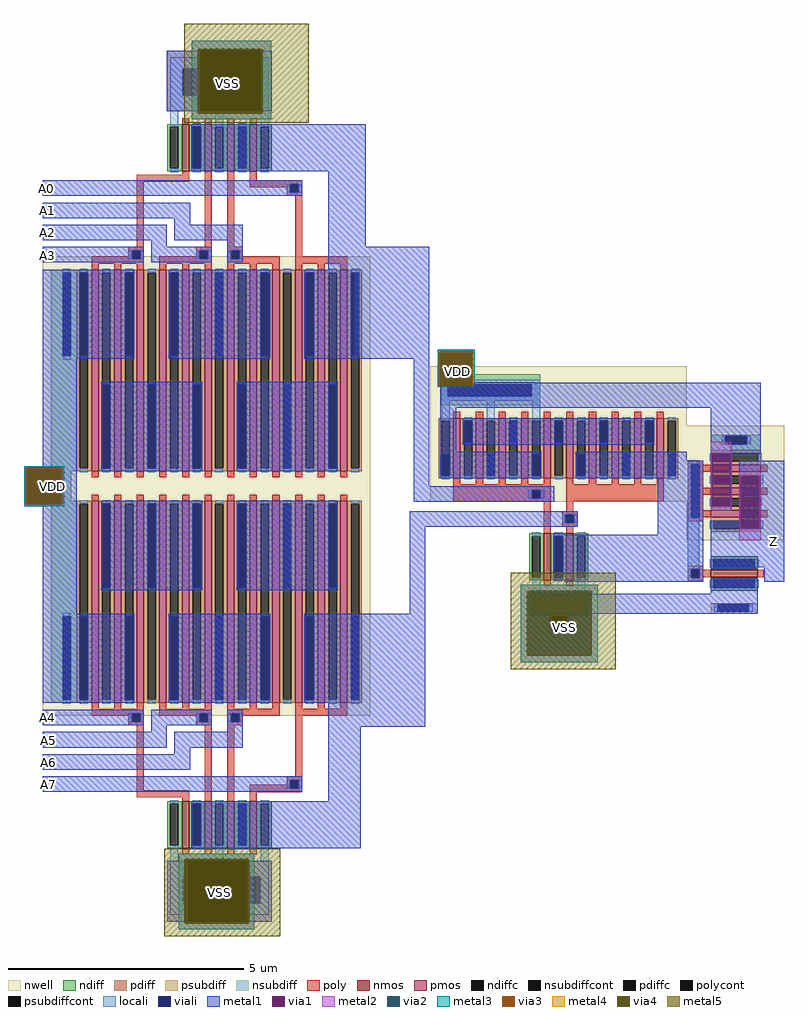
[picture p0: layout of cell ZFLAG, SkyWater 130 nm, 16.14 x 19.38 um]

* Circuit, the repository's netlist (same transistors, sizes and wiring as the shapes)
* NGSPICE file created from ZFLAG.ext - technology: sky130B

.subckt sky130_fd_pr__pfet_01v8_64A2S3 a_n33_n428# a_447_n428# a_n605_n428# a_321_n484#
+ a_n543_n484# a_543_n428# a_159_n428# a_33_n484# a_n255_n484# a_255_n428# w_n641_n484#
+ a_351_n428# a_n417_n428# a_n513_n428# a_n129_n428# a_63_n428# a_n225_n428# a_n321_n428#
X0 a_447_n428# a_321_n484# a_351_n428# w_n641_n484# sky130_fd_pr__pfet_01v8 ad=0.7062 pd=4.61 as=0.7062 ps=4.61 w=4.28 l=0.15
X1 a_n513_n428# a_n543_n484# a_n605_n428# w_n641_n484# sky130_fd_pr__pfet_01v8 ad=0.7062 pd=4.61 as=1.3268 ps=9.18 w=4.28 l=0.15
X2 a_63_n428# a_33_n484# a_n33_n428# w_n641_n484# sky130_fd_pr__pfet_01v8 ad=0.7062 pd=4.61 as=0.7062 ps=4.61 w=4.28 l=0.15
X3 a_n129_n428# a_n255_n484# a_n225_n428# w_n641_n484# sky130_fd_pr__pfet_01v8 ad=0.7062 pd=4.61 as=0.7062 ps=4.61 w=4.28 l=0.15
X4 a_n417_n428# a_n543_n484# a_n513_n428# w_n641_n484# sky130_fd_pr__pfet_01v8 ad=0.7062 pd=4.61 as=0.7062 ps=4.61 w=4.28 l=0.15
X5 a_n33_n428# a_n255_n484# a_n129_n428# w_n641_n484# sky130_fd_pr__pfet_01v8 ad=0.7062 pd=4.61 as=0.7062 ps=4.61 w=4.28 l=0.15
X6 a_351_n428# a_321_n484# a_255_n428# w_n641_n484# sky130_fd_pr__pfet_01v8 ad=0.7062 pd=4.61 as=0.7062 ps=4.61 w=4.28 l=0.15
X7 a_255_n428# a_33_n484# a_159_n428# w_n641_n484# sky130_fd_pr__pfet_01v8 ad=0.7062 pd=4.61 as=0.7062 ps=4.61 w=4.28 l=0.15
X8 a_n321_n428# a_n543_n484# a_n417_n428# w_n641_n484# sky130_fd_pr__pfet_01v8 ad=0.7062 pd=4.61 as=0.7062 ps=4.61 w=4.28 l=0.15
X9 a_543_n428# a_321_n484# a_447_n428# w_n641_n484# sky130_fd_pr__pfet_01v8 ad=1.3268 pd=9.18 as=0.7062 ps=4.61 w=4.28 l=0.15
X10 a_159_n428# a_33_n484# a_63_n428# w_n641_n484# sky130_fd_pr__pfet_01v8 ad=0.7062 pd=4.61 as=0.7062 ps=4.61 w=4.28 l=0.15
X11 a_n225_n428# a_n255_n484# a_n321_n428# w_n641_n484# sky130_fd_pr__pfet_01v8 ad=0.7062 pd=4.61 as=0.7062 ps=4.61 w=4.28 l=0.15
.ends

.subckt sky130_fd_pr__nfet_01v8_S9NJ5Q a_159_n100# a_n159_n126# a_33_n126# a_n129_n100#
+ a_n221_n100# a_63_n100# a_n63_n126# a_n33_n100# a_129_n126# VSUBS
X0 a_n129_n100# a_n159_n126# a_n221_n100# VSUBS sky130_fd_pr__nfet_01v8 ad=0.165 pd=1.33 as=0.31 ps=2.62 w=1 l=0.15
X1 a_63_n100# a_33_n126# a_n33_n100# VSUBS sky130_fd_pr__nfet_01v8 ad=0.165 pd=1.33 as=0.165 ps=1.33 w=1 l=0.15
X2 a_n33_n100# a_n63_n126# a_n129_n100# VSUBS sky130_fd_pr__nfet_01v8 ad=0.165 pd=1.33 as=0.165 ps=1.33 w=1 l=0.15
X3 a_159_n100# a_129_n126# a_63_n100# VSUBS sky130_fd_pr__nfet_01v8 ad=0.31 pd=2.62 as=0.165 ps=1.33 w=1 l=0.15
.ends

.subckt nor4 A B C D VSS Y VDD
Xsky130_fd_pr__pfet_01v8_64A2S3_0 m1_n20_1047# m1_268_1523# VDD D A Y m1_n20_1047#
+ C B m1_268_1523# VDD Y VDD m1_n308_1523# m1_n308_1523# m1_268_1523# m1_n20_1047#
+ m1_n308_1523# sky130_fd_pr__pfet_01v8_64A2S3
Xsky130_fd_pr__nfet_01v8_S9NJ5Q_0 VSS A C Y VSS Y B VSS D VSS sky130_fd_pr__nfet_01v8_S9NJ5Q
.ends

.subckt sky130_fd_pr__pfet_01v8_UFBY79 a_n33_n128# a_n509_n128# a_447_n128# a_159_n128#
+ a_255_n128# a_351_n128# a_n417_n128# a_n447_n225# a_n129_n128# a_63_n128# a_n225_n128#
+ a_33_n225# w_n545_n228# a_n321_n128#
X0 a_63_n128# a_33_n225# a_n33_n128# w_n545_n228# sky130_fd_pr__pfet_01v8 ad=0.2112 pd=1.61 as=0.2112 ps=1.61 w=1.28 l=0.15
X1 a_n129_n128# a_n447_n225# a_n225_n128# w_n545_n228# sky130_fd_pr__pfet_01v8 ad=0.2112 pd=1.61 as=0.2112 ps=1.61 w=1.28 l=0.15
X2 a_n417_n128# a_n447_n225# a_n509_n128# w_n545_n228# sky130_fd_pr__pfet_01v8 ad=0.2112 pd=1.61 as=0.3968 ps=3.18 w=1.28 l=0.15
X3 a_351_n128# a_33_n225# a_255_n128# w_n545_n228# sky130_fd_pr__pfet_01v8 ad=0.2112 pd=1.61 as=0.2112 ps=1.61 w=1.28 l=0.15
X4 a_n33_n128# a_n447_n225# a_n129_n128# w_n545_n228# sky130_fd_pr__pfet_01v8 ad=0.2112 pd=1.61 as=0.2112 ps=1.61 w=1.28 l=0.15
X5 a_255_n128# a_33_n225# a_159_n128# w_n545_n228# sky130_fd_pr__pfet_01v8 ad=0.2112 pd=1.61 as=0.2112 ps=1.61 w=1.28 l=0.15
X6 a_n321_n128# a_n447_n225# a_n417_n128# w_n545_n228# sky130_fd_pr__pfet_01v8 ad=0.2112 pd=1.61 as=0.2112 ps=1.61 w=1.28 l=0.15
X7 a_159_n128# a_33_n225# a_63_n128# w_n545_n228# sky130_fd_pr__pfet_01v8 ad=0.2112 pd=1.61 as=0.2112 ps=1.61 w=1.28 l=0.15
X8 a_n225_n128# a_n447_n225# a_n321_n128# w_n545_n228# sky130_fd_pr__pfet_01v8 ad=0.2112 pd=1.61 as=0.2112 ps=1.61 w=1.28 l=0.15
X9 a_447_n128# a_33_n225# a_351_n128# w_n545_n228# sky130_fd_pr__pfet_01v8 ad=0.3968 pd=3.18 as=0.2112 ps=1.61 w=1.28 l=0.15
.ends

.subckt sky130_fd_pr__nfet_01v8_LZEQWH a_33_n126# a_n125_n100# a_63_n100# a_n63_n126#
+ a_n33_n100# VSUBS
X0 a_63_n100# a_33_n126# a_n33_n100# VSUBS sky130_fd_pr__nfet_01v8 ad=0.31 pd=2.62 as=0.165 ps=1.33 w=1 l=0.15
X1 a_n33_n100# a_n63_n126# a_n125_n100# VSUBS sky130_fd_pr__nfet_01v8 ad=0.165 pd=1.33 as=0.31 ps=2.62 w=1 l=0.15
.ends

.subckt nor2 A B VSS VDD Y
Xsky130_fd_pr__pfet_01v8_UFBY79_0 m1_760_245# VDD Y m1_760_245# Y m1_760_245# m1_760_245#
+ A VDD Y m1_760_245# B VDD VDD sky130_fd_pr__pfet_01v8_UFBY79
Xsky130_fd_pr__nfet_01v8_LZEQWH_0 A VSS VSS B Y VSS sky130_fd_pr__nfet_01v8_LZEQWH
.ends

.subckt sky130_fd_pr__nfet_01v8_6H9P4D a_n73_n100# a_15_n100# a_n15_n126# VSUBS
X0 a_15_n100# a_n15_n126# a_n73_n100# VSUBS sky130_fd_pr__nfet_01v8 ad=0.29 pd=2.58 as=0.29 ps=2.58 w=1 l=0.15
.ends

.subckt efepmos_W107-L15-F3 a_n129_n204# a_n173_n107# w_n209_n207# a_n81_n107#
X0 a_n81_n107# a_n129_n204# a_n173_n107# w_n209_n207# sky130_fd_pr__pfet_01v8 ad=0.3317 pd=2.76 as=0.17655 ps=1.4 w=1.07 l=0.15
X1 a_n81_n107# a_n129_n204# a_n173_n107# w_n209_n207# sky130_fd_pr__pfet_01v8 ad=0.17655 pd=1.4 as=0.3317 ps=2.76 w=1.07 l=0.15
X2 a_n173_n107# a_n129_n204# a_n81_n107# w_n209_n207# sky130_fd_pr__pfet_01v8 ad=0.17655 pd=1.4 as=0.17655 ps=1.4 w=1.07 l=0.15
.ends

.subckt inv A VSS VDD Y
Xsky130_fd_pr__nfet_01v8_6H9P4D_0 Y VSS A VSS sky130_fd_pr__nfet_01v8_6H9P4D
Xefepmos_W107-L15-F3_0 A VDD VDD Y efepmos_W107-L15-F3
.ends

.subckt ZFLAG A0 A1 A2 A3 A4 A5 A6 A7 Z
Xnor4_0 A3 A2 A1 A0 VSS nor4_0/Y VDD nor4
Xnor4_1 A4 A5 A6 A7 VSS nor4_1/Y VDD nor4
Xnor2_1 nor4_0/Y nor4_1/Y VSS VDD inv_0/A nor2
Xinv_0 inv_0/A VSS VDD Z inv
.ends

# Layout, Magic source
magic
tech sky130B
magscale 1 2
<< nwell >>
rect 108 1772 218 2024
<< nsubdiff >>
rect 108 1901 218 2024
rect 108 1775 193 1901
rect 108 1772 218 1775
<< viali >>
rect 2164 1306 2364 1368
<< metal1 >>
rect 600 3429 740 3687
rect 998 3429 1045 3687
rect 72 3072 110 3130
rect 74 2978 112 3036
rect 72 2884 110 2946
rect 1379 2855 1445 3375
rect 74 2790 112 2852
rect 1379 2789 1713 2855
rect 72 1923 218 2757
rect 1396 2378 1713 2789
rect -7 1910 218 1923
rect -7 1766 6 1910
rect 150 1766 218 1910
rect 1647 1837 1713 2378
rect 1750 2403 1907 2416
rect 1750 2270 1761 2403
rect 1894 2276 1907 2403
rect 1894 2270 3122 2276
rect 1750 2259 3122 2270
rect 1760 2171 3122 2259
rect 1760 1985 1828 2171
rect 2908 2088 3122 2171
rect 1760 1980 1834 1985
rect 1647 1771 1983 1837
rect -7 1753 218 1766
rect 72 918 218 1753
rect 1631 1666 1960 1732
rect 1631 1296 1697 1666
rect 3146 1530 3206 1680
rect 2804 1433 2830 1434
rect 74 824 112 886
rect 1332 844 1697 1296
rect 2138 1382 2388 1384
rect 2138 1368 3108 1382
rect 2138 1306 2164 1368
rect 2364 1306 3108 1368
rect 2138 1297 3108 1306
rect 2138 1288 2388 1297
rect 2227 1224 2233 1288
rect 2297 1224 2303 1288
rect 1391 817 1697 844
rect 76 730 114 792
rect 76 636 114 698
rect 78 542 116 604
rect 602 -12 676 247
rect 935 -12 1045 247
<< via1 >>
rect 740 3429 998 3687
rect 6 1766 150 1910
rect 1761 2270 1894 2403
rect 2233 1224 2297 1288
rect 676 -12 935 247
<< metal2 >>
rect 705 3687 1043 3730
rect 705 3429 740 3687
rect 998 3429 1043 3687
rect 705 3396 1043 3429
rect 1750 2403 1907 2416
rect 1750 2270 1761 2403
rect 1894 2270 1907 2403
rect 1750 2259 1907 2270
rect -7 1910 163 1923
rect -7 1766 6 1910
rect 150 1766 163 1910
rect -7 1753 163 1766
rect 2102 1288 2429 1419
rect 2102 1224 2233 1288
rect 2297 1224 2429 1288
rect 2102 1091 2429 1224
rect 651 247 971 277
rect 651 -12 676 247
rect 935 -12 971 247
rect 651 -43 971 -12
<< via2 >>
rect 740 3429 998 3687
rect 1761 2270 1894 2403
rect 6 1766 150 1910
rect 2233 1224 2297 1288
rect 686 -12 935 247
<< metal3 >>
rect 705 3692 1043 3730
rect 705 3424 735 3692
rect 1003 3424 1043 3692
rect 705 3396 1043 3424
rect 1750 2408 1907 2416
rect 1750 2265 1756 2408
rect 1899 2265 1907 2408
rect 1750 2259 1907 2265
rect -7 1915 163 1923
rect -7 1761 1 1915
rect 155 1761 163 1915
rect -7 1753 163 1761
rect 2102 1293 2429 1419
rect 2102 1219 2228 1293
rect 2302 1219 2429 1293
rect 2102 1091 2429 1219
rect 651 252 971 277
rect 651 -17 681 252
rect 940 -17 971 252
rect 651 -43 971 -17
<< via3 >>
rect 735 3687 1003 3692
rect 735 3429 740 3687
rect 740 3429 998 3687
rect 998 3429 1003 3687
rect 735 3424 1003 3429
rect 1756 2403 1899 2408
rect 1756 2270 1761 2403
rect 1761 2270 1894 2403
rect 1894 2270 1899 2403
rect 1756 2265 1899 2270
rect 1 1910 155 1915
rect 1 1766 6 1910
rect 6 1766 150 1910
rect 150 1766 155 1910
rect 1 1761 155 1766
rect 2228 1288 2302 1293
rect 2228 1224 2233 1288
rect 2233 1224 2297 1288
rect 2297 1224 2302 1288
rect 2228 1219 2302 1224
rect 681 247 940 252
rect 681 -12 686 247
rect 686 -12 935 247
rect 935 -12 940 247
rect 681 -17 940 -12
<< metal4 >>
rect 1755 2408 1900 2409
rect 1755 2265 1756 2408
rect 1899 2265 1900 2408
rect 1755 2264 1900 2265
rect 0 1915 156 1916
rect 0 1761 1 1915
rect 155 1761 156 1915
rect 0 1760 156 1761
<< via4 >>
rect 733 3692 1005 3694
rect 733 3424 735 3692
rect 735 3424 1003 3692
rect 1003 3424 1005 3692
rect 733 3422 1005 3424
rect 2129 1293 2401 1392
rect 2129 1219 2228 1293
rect 2228 1219 2302 1293
rect 2302 1219 2401 1293
rect 2129 1120 2401 1219
rect 675 252 947 254
rect 675 -17 681 252
rect 681 -17 940 252
rect 940 -17 947 252
rect 675 -18 947 -17
<< metal5 >>
rect 674 3694 1202 3802
rect 674 3422 733 3694
rect 1005 3422 1202 3694
rect 674 3380 1202 3422
rect 2059 1392 2506 1471
rect 2059 1120 2129 1392
rect 2401 1120 2506 1392
rect 2059 1061 2506 1120
rect 589 254 1081 299
rect 589 -18 675 254
rect 947 -18 1081 254
rect 589 -74 1081 -18
use inv  inv_0 ~/Documents/vlsi/vlsi_sky130b/design/mag/inv
transform 1 0 2808 0 1 1608
box 0 -311 412 486
use nor2  nor2_1 ~/Documents/vlsi/vlsi_sky130b/design/mag/NOR/NOR2
transform 1 0 1718 0 1 1768
box 0 -480 1090 580
use nor4  nor4_0 ~/Documents/vlsi/vlsi_sky130b/design/mag/NOR/NOR4
transform 1 0 674 0 -1 3804
box -602 118 790 1966
use nor4  nor4_1
transform 1 0 674 0 1 -128
box -602 118 790 1966
<< labels >>
flabel metal1 84 3082 96 3118 0 FreeSans 160 0 0 0 A0
port 0 nsew
flabel metal1 86 2990 98 3026 0 FreeSans 160 0 0 0 A1
port 1 nsew
flabel metal1 86 2896 98 2932 0 FreeSans 160 0 0 0 A2
port 2 nsew
flabel metal1 86 2800 98 2836 0 FreeSans 160 0 0 0 A3
port 3 nsew
flabel metal1 80 836 104 876 0 FreeSans 160 0 0 0 A4
port 4 nsew
flabel metal1 86 740 110 780 0 FreeSans 160 0 0 0 A5
port 5 nsew
flabel metal1 84 644 108 684 0 FreeSans 160 0 0 0 A6
port 6 nsew
flabel metal1 84 552 108 592 0 FreeSans 160 0 0 0 A7
port 8 nsew
flabel metal1 3156 1542 3196 1664 0 FreeSans 160 0 0 0 Z
port 10 nsew
flabel metal5 718 3426 996 3670 0 FreeSans 160 0 0 0 VSS
flabel metal5 682 -10 960 234 0 FreeSans 160 0 0 0 VSS
flabel metal5 2150 1116 2428 1360 0 FreeSans 160 0 0 0 VSS
flabel metal4 1810 2268 1854 2378 0 FreeSans 160 0 0 0 VDD
flabel metal4 94 1782 138 1892 0 FreeSans 160 0 0 0 VDD
<< end >>

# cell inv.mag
magic
tech sky130B
magscale 1 2
<< nwell >>
rect 0 366 412 486
rect 101 347 104 366
rect 223 290 343 338
rect 326 288 343 290
rect 376 0 412 366
<< psubdiff >>
rect 100 -270 300 -268
rect 100 -304 131 -270
rect 263 -304 300 -270
rect 100 -311 300 -304
<< nsubdiff >>
rect 100 442 314 448
rect 100 408 163 442
rect 254 408 314 442
rect 100 382 314 408
<< psubdiffcont >>
rect 131 -304 263 -270
<< nsubdiffcont >>
rect 163 408 254 442
<< poly >>
rect 3 -124 70 -108
rect 3 -158 19 -124
rect 53 -126 70 -124
rect 53 -156 75 -126
rect 53 -158 70 -156
rect 3 -174 70 -158
<< polycont >>
rect 19 -158 53 -124
<< locali >>
rect 147 408 163 442
rect 254 408 270 442
rect 3 -124 53 339
rect 3 -158 19 -124
rect 3 -174 53 -158
rect 115 -304 131 -270
rect 263 -304 279 -270
<< viali >>
rect 163 408 254 442
rect 19 -158 53 -124
rect 131 -304 263 -270
<< metal1 >>
rect 100 442 314 486
rect 100 408 163 442
rect 254 408 314 442
rect 100 366 314 408
rect 101 347 104 366
rect 0 80 53 338
rect 223 82 412 338
rect 0 -124 69 80
rect 100 -114 412 82
rect 0 -158 19 -124
rect 53 -158 69 -124
rect 0 -175 69 -158
rect 100 -270 300 -161
rect 328 -175 412 -114
rect 100 -304 131 -270
rect 263 -304 300 -270
rect 100 -311 300 -304
use efepmos_W107-L15-F3  efepmos_W107-L15-F3_0
transform 0 1 207 -1 0 209
box -209 -207 209 169
use sky130_fd_pr__nfet_01v8_6H9P4D  sky130_fd_pr__nfet_01v8_6H9P4D_0
transform 0 1 200 -1 0 -141
box -73 -126 73 126
<< labels >>
rlabel metal1 0 78 0 78 3 A
port 1 e
rlabel metal1 198 -311 198 -311 5 VSS
port 2 s
rlabel metal1 210 486 210 486 5 VDD
port 3 s
rlabel metal1 412 78 412 78 3 Y
port 4 e
<< end >>

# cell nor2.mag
magic
tech sky130B
magscale 1 2
<< nwell >>
rect 0 459 1090 580
rect 1 396 1090 459
rect 42 350 486 396
<< psubdiff >>
rect 420 -401 670 -384
rect 420 -462 446 -401
rect 645 -462 670 -401
rect 420 -480 670 -462
<< nsubdiff >>
rect 46 502 466 544
rect 46 451 74 502
rect 431 451 466 502
rect 46 413 466 451
<< psubdiffcont >>
rect 446 -462 645 -401
<< nsubdiffcont >>
rect 74 451 431 502
<< poly >>
rect 417 19 433 53
rect 467 19 483 53
rect 482 -114 512 6
rect 578 -36 608 6
rect 560 -52 626 -36
rect 560 -86 576 -52
rect 610 -86 626 -52
rect 560 -102 626 -86
rect 578 -113 608 -102
<< polycont >>
rect 433 19 467 53
rect 576 -86 610 -52
<< locali >>
rect 46 502 466 522
rect 46 451 74 502
rect 431 451 466 502
rect 46 432 466 451
rect 48 363 82 432
rect 240 363 274 432
rect 432 363 466 432
rect 417 19 433 53
rect 467 19 483 53
rect 560 -86 576 -52
rect 610 -86 626 -52
rect 432 -390 466 -334
rect 624 -390 658 -334
rect 420 -401 670 -390
rect 420 -462 446 -401
rect 645 -462 670 -401
rect 420 -474 670 -462
<< viali >>
rect 74 451 431 502
rect 433 19 467 53
rect 576 -86 610 -52
rect 446 -462 645 -401
<< metal1 >>
rect 62 502 443 510
rect 62 451 74 502
rect 431 451 443 502
rect 62 444 443 451
rect 184 245 522 359
rect 568 245 714 359
rect 760 245 906 359
rect 88 103 426 217
rect 664 103 1090 217
rect 0 53 526 69
rect 0 19 433 53
rect 467 19 526 53
rect 0 3 526 19
rect 0 -52 626 -36
rect 0 -86 576 -52
rect 610 -86 626 -52
rect 0 -102 626 -86
rect 965 -136 1090 103
rect 568 -334 1090 -136
rect 568 -335 1088 -334
rect 568 -336 1037 -335
rect 434 -401 657 -394
rect 434 -462 446 -401
rect 645 -462 657 -401
rect 434 -468 657 -462
use sky130_fd_pr__nfet_01v8_LZEQWH  sky130_fd_pr__nfet_01v8_LZEQWH_0
transform -1 0 545 0 -1 -230
box -125 -126 125 126
use sky130_fd_pr__pfet_01v8_UFBY79  sky130_fd_pr__pfet_01v8_UFBY79_0
transform 1 0 545 0 1 231
box -545 -228 545 228
<< labels >>
flabel metal1 7 10 84 62 1 FreeSerif 320 0 0 0 A
port 1 e
rlabel metal1 253 510 253 510 5 VDD
port 4 s
flabel metal1 8 -96 85 -44 1 FreeSerif 320 0 0 0 B
port 2 e
flabel metal1 1012 -102 1089 -50 1 FreeSerif 320 0 0 0 Y
port 5 e
rlabel metal1 549 -468 549 -468 5 VSS
port 3 s
<< end >>

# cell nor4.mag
magic
tech sky130B
magscale 1 2
<< nwell >>
rect -602 1489 -492 1966
rect -602 1467 -482 1489
rect -602 1047 -456 1467
rect -602 1023 -461 1047
rect -602 991 -492 1023
<< psubdiff >>
rect -72 307 370 375
rect -72 194 -8 307
rect 322 194 370 307
rect -72 118 370 194
<< nsubdiff >>
rect -566 1413 -456 1903
rect -566 1059 -516 1413
rect -482 1059 -456 1413
rect -566 1047 -456 1059
<< psubdiffcont >>
rect -8 194 322 307
<< nsubdiffcont >>
rect -516 1059 -482 1413
<< poly >>
rect -238 1000 -172 1016
rect -238 966 -222 1000
rect -188 966 -172 1000
rect -238 950 -172 966
rect 50 1000 116 1016
rect 50 966 66 1000
rect 100 966 116 1000
rect 50 950 116 966
rect -202 674 -172 950
rect -202 644 20 674
rect 86 650 116 950
rect 182 1000 248 1016
rect 182 966 198 1000
rect 232 966 248 1000
rect 182 950 248 966
rect 182 650 212 950
rect 470 734 500 991
rect 434 718 500 734
rect 434 697 450 718
rect 278 684 450 697
rect 484 684 500 718
rect 278 667 500 684
rect 278 655 308 667
<< polycont >>
rect -222 966 -188 1000
rect 66 966 100 1000
rect 198 966 232 1000
rect 450 684 484 718
<< locali >>
rect -516 1413 -482 1429
rect -516 1043 -482 1059
rect -238 966 -222 1000
rect -188 966 -172 1000
rect 50 966 66 1000
rect 100 966 116 1000
rect 182 966 198 1000
rect 232 966 248 1000
rect 434 684 450 718
rect 484 684 500 718
rect -60 375 -26 425
rect 132 375 166 425
rect 324 375 358 425
rect -60 307 358 375
rect -60 194 -8 307
rect 322 194 358 307
rect -60 146 358 194
<< viali >>
rect -516 1059 -482 1413
rect -222 966 -188 1000
rect 66 966 100 1000
rect 198 966 232 1000
rect 450 684 484 718
rect -8 194 322 307
<< metal1 >>
rect -308 1523 -162 1903
rect -116 1523 30 1903
rect 268 1523 606 1903
rect -531 1413 -450 1425
rect -531 1059 -516 1413
rect -482 1059 -450 1413
rect -531 1047 -450 1059
rect -404 1047 -258 1425
rect -20 1047 318 1425
rect 556 1047 702 1425
rect 611 1016 748 1047
rect -602 1000 -172 1016
rect -602 966 -222 1000
rect -188 966 -172 1000
rect -602 950 -172 966
rect -141 1000 116 1016
rect -141 966 66 1000
rect 100 966 116 1000
rect -141 950 116 966
rect 182 1000 248 1016
rect 182 966 198 1000
rect 232 966 248 1000
rect -141 922 -75 950
rect 182 922 248 966
rect -602 856 -75 922
rect -42 856 248 922
rect 611 950 790 1016
rect -42 828 25 856
rect -602 762 25 828
rect -602 718 500 734
rect -602 684 450 718
rect 484 684 500 718
rect -602 668 500 684
rect 611 629 748 950
rect 76 429 748 629
rect -20 307 334 317
rect -20 194 -8 307
rect 322 194 334 307
rect -20 187 334 194
use sky130_fd_pr__nfet_01v8_S9NJ5Q  sky130_fd_pr__nfet_01v8_S9NJ5Q_0
transform 1 0 149 0 1 529
box -221 -126 221 126
use sky130_fd_pr__pfet_01v8_64A2S3  sky130_fd_pr__pfet_01v8_64A2S3_0
transform 1 0 149 0 1 1475
box -641 -484 641 491
<< labels >>
rlabel metal1 -602 981 -602 981 3 A
port 6 e
rlabel metal1 -602 889 -602 889 3 B
port 7 e
rlabel metal1 -602 793 -602 793 3 C
port 8 e
rlabel metal1 -602 698 -602 698 3 D
port 9 e
rlabel metal1 158 187 158 187 5 VSS
port 10 s
rlabel metal1 -531 1235 -531 1235 5 VDD
port 11 s
rlabel metal1 790 982 790 982 3 Y
port 12 e
<< end >>

# cell sky130_fd_pr__nfet_01v8_S9NJ5Q: kit device sky130_fd_pr__nfet_01v8, w 1 l 0.15 m 1 nf 4 diffcov 100 polycov 100 guard 0 glc 1 grc 1 gtc 1 gbc 1 tbcov 100 rlcov 100 topc 1 botc 0 poverlap 0 doverlap 1 lmin 0.15 wmin 0.42 compatible {sky130_fd_pr__nfet_01v8 sky130_fd_pr__nfet_01v8_lvt sky130_fd_bs_flash__special_sonosfet_star sky130_fd_pr__nfet_g5v0d10v5 sky130_fd_pr__nfet_05v0_nvt sky130_fd_pr__nfet_03v3_nvt} full_metal 1 viasrc 100 viadrn 100 viagate 0 viagb 0 viagr 0 viagl 0 viagt 0

# cell sky130_fd_pr__pfet_01v8_64A2S3: kit device sky130_fd_pr__pfet_01v8, w 4.28 l 0.15 m 1 nf 12 diffcov 100 polycov 100 guard 0 glc 1 grc 1 gtc 1 gbc 1 tbcov 100 rlcov 100 topc 0 botc 1 poverlap 0 doverlap 1 lmin 0.15 wmin 0.42 compatible {sky130_fd_pr__pfet_01v8 sky130_fd_pr__pfet_01v8_lvt sky130_fd_pr__pfet_01v8_hvt sky130_fd_pr__pfet_g5v0d10v5} full_metal 1 viasrc 100 viadrn 100 viagate 0 viagb 0 viagr 0 viagl 0 viagt 0

# cell sky130_fd_pr__nfet_01v8_LZEQWH: kit device sky130_fd_pr__nfet_01v8, w 1 l 0.15 m 1 nf 2 diffcov 100 polycov 100 guard 0 glc 1 grc 1 gtc 1 gbc 1 tbcov 100 rlcov 100 topc 1 botc 0 poverlap 0 doverlap 1 lmin 0.15 wmin 0.42 compatible {sky130_fd_pr__nfet_01v8 sky130_fd_pr__nfet_01v8_lvt sky130_fd_bs_flash__special_sonosfet_star sky130_fd_pr__nfet_g5v0d10v5 sky130_fd_pr__nfet_05v0_nvt sky130_fd_pr__nfet_03v3_nvt} full_metal 1 viasrc 100 viadrn 100 viagate 0 viagb 0 viagr 0 viagl 0 viagt 0

# cell sky130_fd_pr__pfet_01v8_UFBY79: kit device sky130_fd_pr__pfet_01v8, w 1.284 l 0.15 m 1 nf 10 diffcov 100 polycov 100 guard 0 glc 1 grc 1 gtc 1 gbc 1 tbcov 100 rlcov 100 topc 0 botc 0 poverlap 0 doverlap 1 lmin 0.15 wmin 0.42 compatible {sky130_fd_pr__pfet_01v8 sky130_fd_pr__pfet_01v8_lvt sky130_fd_pr__pfet_01v8_hvt sky130_fd_pr__pfet_g5v0d10v5} full_metal 0 viasrc 100 viadrn 100 viagate 0 viagb 0 viagr 0 viagl 0 viagt 0

# cell efepmos_W107-L15-F3: kit device sky130_fd_pr__pfet_01v8, w 1.07 l 0.15 m 1 nf 3 diffcov 100 polycov 100 guard 0 glc 1 grc 1 gtc 1 gbc 1 tbcov 100 rlcov 100 topc 0 botc 0 poverlap 0 doverlap 1 lmin 0.15 wmin 0.42 compatible {sky130_fd_pr__pfet_01v8 sky130_fd_pr__pfet_01v8_lvt sky130_fd_pr__pfet_01v8_hvt sky130_fd_pr__pfet_g5v0d10v5} full_metal 1 viasrc 100 viadrn 100 viagate 100 viagb 0 viagr 0 viagl 0 viagt 0

# cell sky130_fd_pr__nfet_01v8_6H9P4D: kit device sky130_fd_pr__nfet_01v8, w 1 l 0.150 m 1 nf 1 diffcov 100 polycov 100 guard 0 glc 1 grc 1 gtc 1 gbc 1 tbcov 100 rlcov 100 topc 0 botc 0 poverlap 0 doverlap 1 lmin 0.15 wmin 0.42 compatible {sky130_fd_pr__nfet_01v8 sky130_fd_pr__nfet_01v8_lvt sky130_fd_bs_flash__special_sonosfet_star sky130_fd_pr__nfet_g5v0d10v5 sky130_fd_pr__nfet_05v0_nvt sky130_fd_pr__nfet_03v3_nvt} full_metal 1 viasrc 100 viadrn 100 viagate 100 viagb 0 viagr 0 viagl 0 viagt 0
